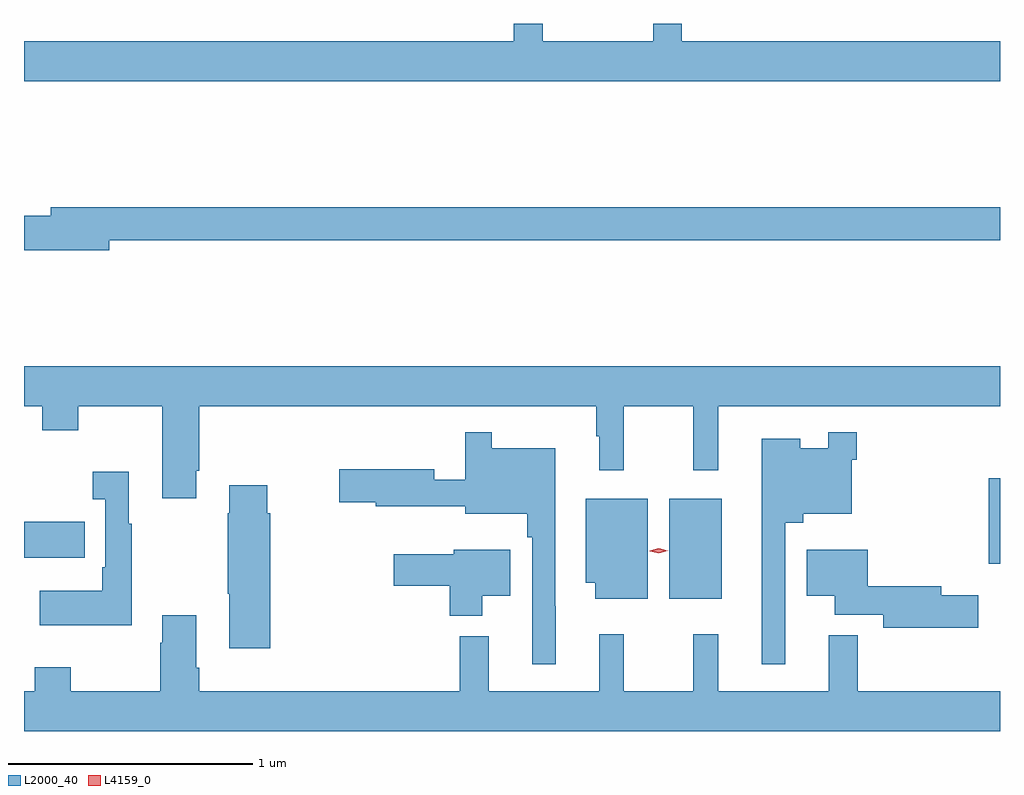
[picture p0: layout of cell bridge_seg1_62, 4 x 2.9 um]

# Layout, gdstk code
import gdstk
lib = gdstk.Library(unit=1e-6, precision=1e-09)
def R(c, l, rs):  # rectangles x0, y0, x1, y1
    for r in rs: c.add(gdstk.rectangle(r[:2], r[2:], *l))
def P(c, l, *ps):  # polygons
    for p in ps: c.add(gdstk.Polygon(p, *l))
L2000_40 = (2000, 40)
L4159_0 = (4159, 0)

bridge_seg1_62 = lib.new_cell('bridge_seg1_62')
R(bridge_seg1_62, L2000_40, [(602.918,537.623,603.133,538.033), (604.226,537.767,604.273,538.116), (600.273,537.791,600.521,537.939)])
P(bridge_seg1_62, L2000_40, [(604.273,539.908),(602.969,539.908),(602.969,539.979),(602.852,539.979),(602.852,539.908),(602.399,539.908),(602.399,539.979),(602.281,539.979),(602.281,539.908),(600.273,539.908),(600.273,539.744),(604.273,539.744)],
  [(600.622,539.092),(604.273,539.092),(604.273,539.228),(600.383,539.228),(600.383,539.192),(600.273,539.192),(600.273,539.05),(600.622,539.05)],
  [(600.979,538.147),(600.992,538.147),(600.992,538.412),(602.619,538.412),(602.619,538.289),(602.63,538.289),(602.63,538.149),(602.732,538.149),(602.732,538.412),(603.016,538.412),(603.016,538.149),(603.118,538.149),(603.118,538.412),(604.273,538.412),(604.273,538.576),(600.273,538.576),(600.273,538.412),(600.347,538.412),(600.347,538.313),(600.495,538.313),(600.495,538.412),(600.839,538.412),(600.839,538.035),(600.979,538.035)],
  [(602.453,537.593),(602.451,537.593),(602.451,538.24),(602.191,538.24),(602.191,538.306),(602.082,538.306),(602.082,538.111),(601.954,538.111),(601.954,538.153),(601.566,538.153),(601.566,538.019),(601.715,538.019),(601.715,538.001),(602.081,538.001),(602.081,537.971),(602.335,537.971),(602.335,537.875),(602.355,537.875),(602.355,537.354),(602.453,537.354)],
  [(603.393,537.935),(603.467,537.935),(603.467,537.971),(603.666,537.971),(603.666,538.193),(603.686,538.193),(603.686,538.306),(603.57,538.306),(603.57,538.24),(603.454,538.24),(603.454,538.279),(603.296,538.279),(603.296,537.354),(603.393,537.354)],
  [(600.715,537.931),(600.703,537.931),(600.703,538.144),(600.555,538.144),(600.555,538.031),(600.606,538.031),(600.606,537.751),(600.594,537.751),(600.594,537.655),(600.337,537.655),(600.337,537.515),(600.715,537.515)],
  [(601.283,537.974),(601.27,537.974),(601.27,538.087),(601.115,538.087),(601.115,537.974),(601.108,537.974),(601.108,537.643),(601.115,537.643),(601.115,537.42),(601.283,537.42)],
  [(602.83,538.033),(602.576,538.033),(602.576,537.689),(602.615,537.689),(602.615,537.623),(602.83,537.623)],
  [(604.183,537.638),(604.033,537.638),(604.033,537.674),(603.731,537.674),(603.731,537.823),(603.482,537.823),(603.482,537.635),(603.596,537.635),(603.596,537.558),(603.794,537.558),(603.794,537.503),(604.183,537.503)],
  [(602.152,537.635),(602.266,537.635),(602.266,537.823),(602.034,537.823),(602.034,537.805),(601.788,537.805),(601.788,537.676),(602.018,537.676),(602.018,537.554),(602.152,537.554)],
  [(604.273,537.244),(603.689,537.244),(603.689,537.473),(603.572,537.473),(603.572,537.244),(603.119,537.244),(603.119,537.478),(603.016,537.478),(603.016,537.244),(602.732,537.244),(602.732,537.478),(602.63,537.478),(602.63,537.244),(602.177,537.244),(602.177,537.469),(602.059,537.469),(602.059,537.244),(600.992,537.244),(600.992,537.34),(600.979,537.34),(600.979,537.556),(600.839,537.556),(600.839,537.443),(600.832,537.443),(600.832,537.244),(600.465,537.244),(600.465,537.343),(600.318,537.343),(600.318,537.244),(600.273,537.244),(600.273,537.08),(604.273,537.08)])
P(bridge_seg1_62, L4159_0, [(602.875,537.809),(602.838,537.818),(602.838,537.819),(602.838,537.819),(602.875,537.829),(602.911,537.819),(602.911,537.819),(602.911,537.819)])

lib.write_gds('bridge_seg1_62.gds')
